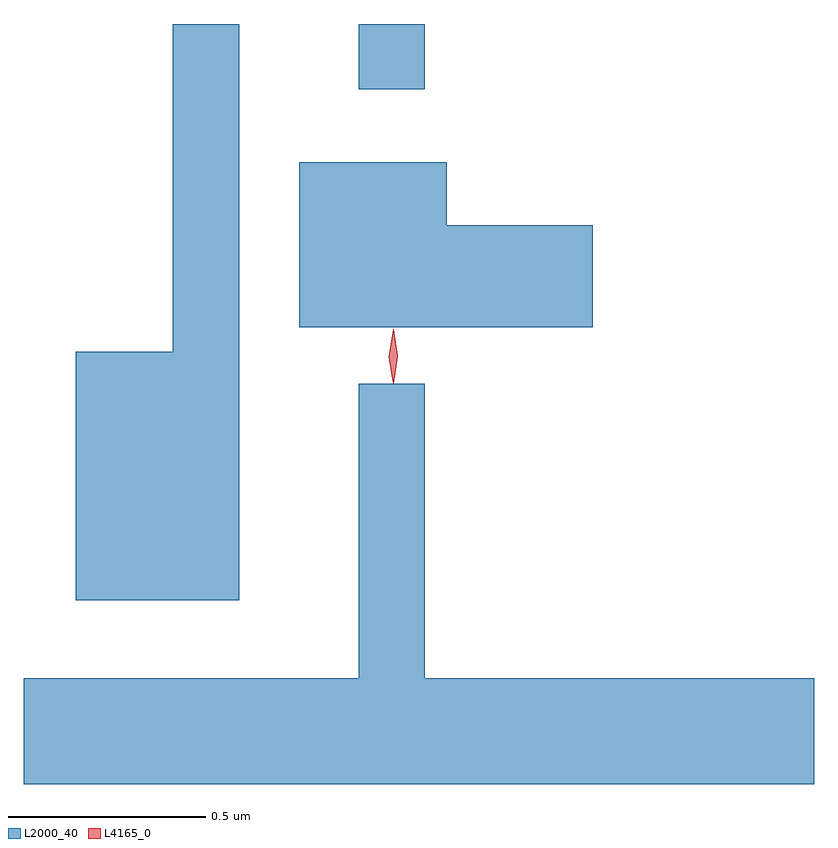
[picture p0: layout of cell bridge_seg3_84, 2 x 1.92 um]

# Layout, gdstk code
import gdstk
lib = gdstk.Library(unit=1e-6, precision=1e-09)
def R(c, l, rs):  # rectangles x0, y0, x1, y1
    for r in rs: c.add(gdstk.rectangle(r[:2], r[2:], *l))
def P(c, l, *ps):  # polygons
    for p in ps: c.add(gdstk.Polygon(p, *l))
L2000_40 = (2000, 40)
L4165_0 = (4165, 0)

bridge_seg3_84 = lib.new_cell('bridge_seg3_84')
R(bridge_seg3_84, L2000_40, [(1145.821,1218.793,1145.989,1218.958)])
P(bridge_seg3_84, L2000_40, [(1145.519,1218.958),(1145.351,1218.958),(1145.351,1218.129),(1145.106,1218.129),(1145.106,1217.501),(1145.519,1217.501)],
  [(1146.414,1218.449),(1146.044,1218.449),(1146.044,1218.609),(1145.671,1218.609),(1145.671,1218.191),(1146.414,1218.191)],
  [(1146.974,1217.304),(1145.989,1217.304),(1145.989,1218.048),(1145.821,1218.048),(1145.821,1217.304),(1144.974,1217.304),(1144.974,1217.036),(1146.974,1217.036)])
P(bridge_seg3_84, L4165_0, [(1145.907,1218.053),(1145.898,1218.116),(1145.907,1218.179),(1145.908,1218.18),(1145.908,1218.179),(1145.918,1218.116),(1145.908,1218.053),(1145.908,1218.053)],
  [(1145.909,1218.05),(1145.9,1218.118),(1145.909,1218.186),(1145.91,1218.186),(1145.91,1218.186),(1145.92,1218.118),(1145.91,1218.05),(1145.91,1218.05)])

lib.write_gds('bridge_seg3_84.gds')
